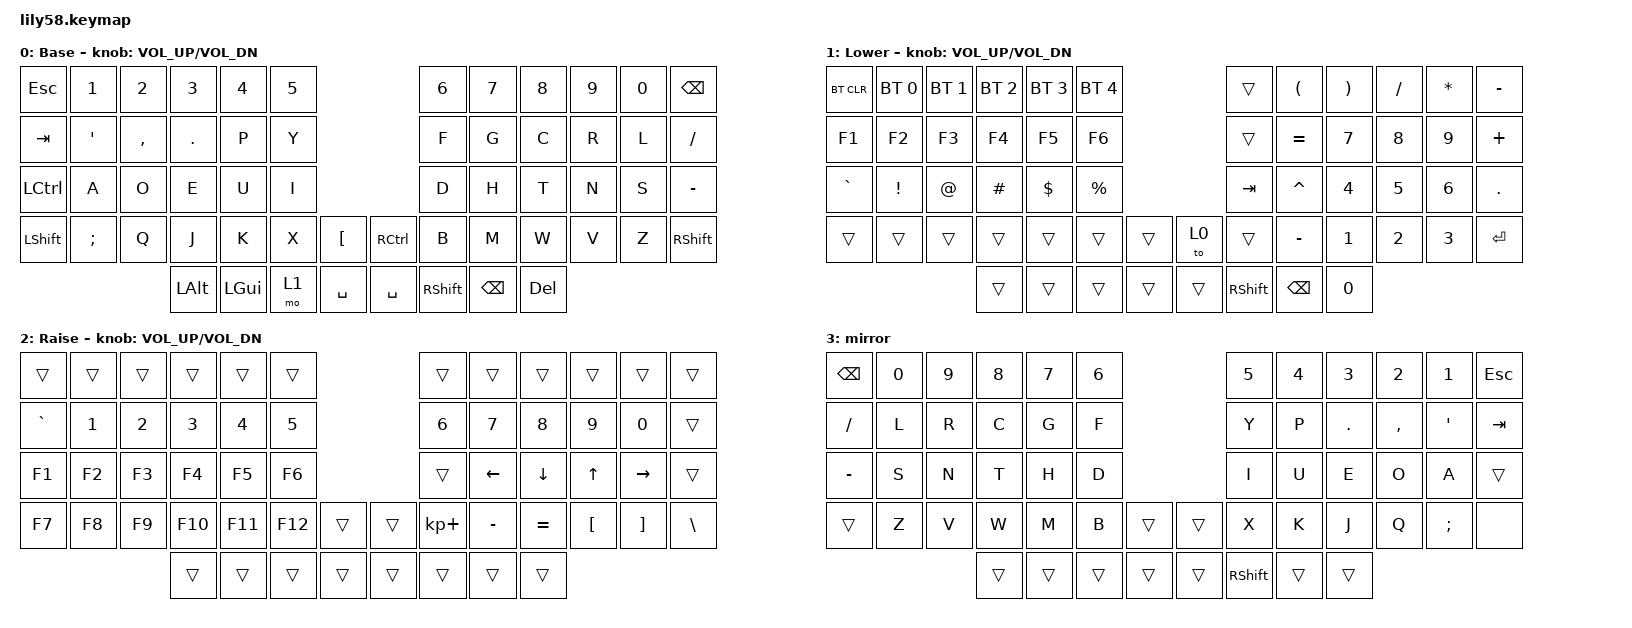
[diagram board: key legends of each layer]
/*
 * Copyright (c) 2020 The ZMK Contributors
 *
 * SPDX-License-Identifier: MIT
 */

#include <behaviors.dtsi>
#include <dt-bindings/zmk/bt.h>
#include <dt-bindings/zmk/keys.h>

/ {
    combos {
        compatible = "zmk,combos";

        space {
            bindings = <&kp SPACE>;
            key-positions = <32 33 34 35>;
            layers = <0>;
            slow-release;
        };
    };

    keymap {
        compatible = "zmk,keymap";

        default_layer {
            // ------------------------------------------------------------------------------------------------------------
            // |  ESC  |  1  |  2  |  3   |  4   |  5   |                   |  6   |  7    |  8    |  9   |   0   |   `   |
            // |  TAB  |  Q  |  W  |  E   |  R   |  T   |                   |  Y   |  U    |  I    |  O   |   P   |   -   |
            // |  CTRL |  A  |  S  |  D   |  F   |  G   |                   |  H   |  J    |  K    |  L   |   ;   |   '   |
            // | SHIFT |  Z  |  X  |  C   |  V   |  B   |   "["  |  |  "]"  |  N   |  M    |  ,    |  .   |   /   | SHIFT |
            //                     | ALT  | GUI  | LOWER|  SPACE |  | ENTER | RAISE| BSPC  | GUI   |

            display-name = "Base";
            bindings = <
&kp ESC    &kp N1         &kp N2     &kp N3      &kp N4    &kp N5                          &kp NUMBER_6  &kp N7    &kp N8   &kp N9  &kp N0  &kp BACKSPACE
&kp TAB    &kp SQT        &kp COMMA  &kp PERIOD  &kp P     &kp Y                           &kp F         &kp G     &kp C    &kp R   &kp L   &kp SLASH
&kp LCTRL  &kp A          &kp O      &kp E       &kp U     &kp I                           &kp D         &kp H     &kp T    &kp N   &kp S   &kp MINUS
&kp LSHFT  &kp SEMICOLON  &kp Q      &kp J       &kp K     &kp X   &kp LBKT     &kp RCTRL  &kp B         &kp M     &kp W    &kp V   &kp Z   &kp RIGHT_SHIFT
                                     &kp LALT    &kp LGUI  &mo 1   &kp SPACE    &kp SPACE  &kp RSHIFT    &kp BSPC  &kp DEL
            >;

            sensor-bindings = <&inc_dec_kp C_VOL_UP C_VOL_DN>;
        };

        lower_layer {
            // ------------------------------------------------------------------------------------------------------------
            // | BTCLR | BT1 | BT2 |  BT3 |  BT4 |  BT5 |                   |      |       |       |      |       |       |
            // |  F1   |  F2 |  F3 |  F4  |  F5  |  F6  |                   |  F7  |  F8   |  F9   |  F10 |  F11  |  F12  |
            // |   `   |  !  |  @  |  #   |  $   |  %   |                   |  ^   |  &    |  *    |  (   |   )   |   ~   |
            // |       |     |     |      |      |      |        |  |       |      |  _    |  +    |  {   |   }   |  "|"  |
            //                     |      |      |      |        |  |       |      |       |       |

            display-name = "Lower";
            bindings = <
&bt BT_CLR  &bt BT_SEL 0  &bt BT_SEL 1  &bt BT_SEL 2  &bt BT_SEL 3  &bt BT_SEL 4                    &trans           &kp LEFT_PARENTHESIS  &kp RIGHT_PARENTHESIS  &kp SLASH     &kp ASTERISK  &kp MINUS
&kp F1      &kp F2        &kp F3        &kp F4        &kp F5        &kp F6                          &trans           &kp EQUAL             &kp NUMBER_7           &kp NUMBER_8  &kp N9        &kp PLUS
&kp GRAVE   &kp EXCL      &kp AT        &kp HASH      &kp DOLLAR    &kp PRCNT                       &kp TAB          &kp CARET             &kp NUMBER_4           &kp N5        &kp NUMBER_6  &kp PERIOD
&trans      &trans        &trans        &trans        &trans        &trans        &trans    &to 0   &trans           &kp MINUS             &kp NUMBER_1           &kp NUMBER_2  &kp NUMBER_3  &kp ENTER
                                        &trans        &trans        &trans        &trans    &trans  &kp RIGHT_SHIFT  &kp BACKSPACE         &kp N0
            >;

            sensor-bindings = <&inc_dec_kp C_VOL_UP C_VOL_DN>;
        };

        raise_layer {
            // ------------------------------------------------------------------------------------------------------------
            // |       |     |     |      |      |      |                   |      |       |       |      |       |       |
            // |   `   |  1  |  2  |  3   |  4   |  5   |                   |  6   |   7   |   8   |  9   |   0   |       |
            // |   F1  |  F2 |  F3 |  F4  |  F5  |  F6  |                   |      |   <-  |   v   |  ^   |  ->   |       |
            // |   F7  |  F8 |  F9 |  F10 |  F11 |  F12 |        |  |       |  +   |   -   |   =   |  [   |   ]   |   \   |
            //                     |      |      |      |        |  |       |      |       |       |

            display-name = "Raise";
            bindings = <
&trans     &trans  &trans  &trans   &trans   &trans                     &trans       &trans     &trans     &trans    &trans     &trans
&kp GRAVE  &kp N1  &kp N2  &kp N3   &kp N4   &kp N5                     &kp N6       &kp N7     &kp N8     &kp N9    &kp N0     &trans
&kp F1     &kp F2  &kp F3  &kp F4   &kp F5   &kp F6                     &trans       &kp LEFT   &kp DOWN   &kp UP    &kp RIGHT  &trans
&kp F7     &kp F8  &kp F9  &kp F10  &kp F11  &kp F12  &trans    &trans  &kp KP_PLUS  &kp MINUS  &kp EQUAL  &kp LBKT  &kp RBKT   &kp BSLH
                           &trans   &trans   &trans   &trans    &trans  &trans       &trans     &trans
            >;

            sensor-bindings = <&inc_dec_kp C_VOL_UP C_VOL_DN>;
        };

        mirror {
            bindings = <
&kp BACKSPACE  &kp N0  &kp N9  &kp N8  &kp N7  &kp NUMBER_6                    &kp N5           &kp NUMBER_4  &kp NUMBER_3  &kp NUMBER_2  &kp NUMBER_1   &kp ESC
&kp SLASH      &kp L   &kp R   &kp C   &kp G   &kp F                           &kp Y            &kp P         &kp PERIOD    &kp COMMA     &kp SQT        &kp TAB
&kp MINUS      &kp S   &kp N   &kp T   &kp H   &kp D                           &kp I            &kp U         &kp E         &kp O         &kp A          &trans
&trans         &kp Z   &kp V   &kp W   &kp M   &kp B         &trans    &trans  &kp X            &kp K         &kp J         &kp Q         &kp SEMICOLON  &none
                               &trans  &trans  &trans        &trans    &trans  &kp RIGHT_SHIFT  &trans        &trans
            >;
        };
    };
};
